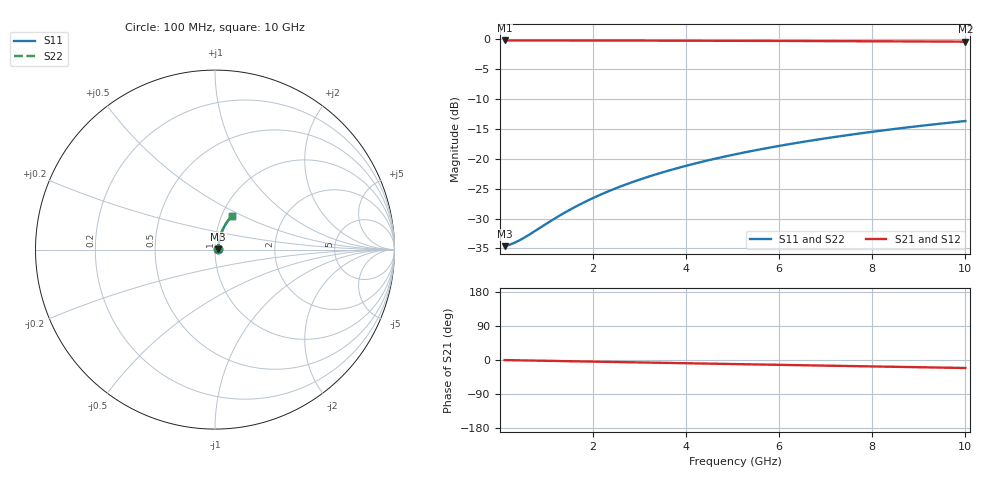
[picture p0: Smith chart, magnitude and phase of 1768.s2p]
# Hz S RI R 50.00
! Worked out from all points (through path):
!   100 points, 100 MHz to 10 GHz, reference 50 ohm
!   highest |S21| = -0.16 dB at 100 MHz (marker M1); lowest = -0.4 dB at 10 GHz (marker M2)
!   group delay of S21, straight-line fit = 5.87 ps
!   lowest |S11| = -34.6 dB at 100 MHz (marker M3), VSWR 1.04, Z = 51.9 + j0.216 ohm
!   |S11| at or under -10 dB: start of sweep to end of sweep
!   |S22| runs from -34.6 to -13.7 dB; largest |S21 - S12| = 0
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1e8  0.0184 0.00208  0.9816 -0.00367  0.9816 -0.00367  0.0184 0.00208
2e8  0.0186 0.00415  0.9814 -0.00734  0.9814 -0.00734  0.0186 0.00415
3e8  0.0187 0.00623  0.9813 -0.011  0.9813 -0.011  0.0187 0.00623
4e8  0.0188 0.0083  0.9812 -0.0147  0.9812 -0.0147  0.0188 0.0083
5e8  0.0189 0.0104  0.981 -0.0183  0.981 -0.0183  0.0189 0.0104
1.3e9  0.0204 0.0269  0.9794 -0.0476  0.9794 -0.0476  0.0204 0.0269
1.5e9  0.0209 0.031  0.9788 -0.0549  0.9788 -0.0549  0.0209 0.031
1.8e9  0.0217 0.0372  0.9778 -0.0659  0.9778 -0.0659  0.0217 0.0372
2.1e9  0.0227 0.0433  0.9767 -0.0768  0.9767 -0.0768  0.0227 0.0433
2.5e9  0.0242 0.0514  0.975 -0.0913  0.975 -0.0913  0.0242 0.0514
2.9e9  0.0259 0.0595  0.973 -0.1057  0.973 -0.1057  0.0259 0.0595
3.4e9  0.0284 0.0695  0.97 -0.1237  0.97 -0.1237  0.0284 0.0695
3.8e9  0.0307 0.0775  0.9674 -0.138  0.9674 -0.138  0.0307 0.0775
4.2e9  0.0332 0.0853  0.9645 -0.1522  0.9645 -0.1522  0.0332 0.0853
4.6e9  0.0359 0.0931  0.9613 -0.1664  0.9613 -0.1664  0.0359 0.0931
5.1e9  0.0396 0.1026  0.957 -0.1839  0.957 -0.1839  0.0396 0.1026
5.9e9  0.0462 0.1176  0.9492 -0.2117  0.9492 -0.2117  0.0462 0.1176
6.7e9  0.0537 0.132  0.9404 -0.2389  0.9404 -0.2389  0.0537 0.132
7.5e9  0.062 0.146  0.9307 -0.2656  0.9307 -0.2656  0.062 0.146
8.4e9  0.0722 0.161  0.9186 -0.2951  0.9186 -0.2951  0.0722 0.161
9.2e9  0.082 0.1736  0.9069 -0.3205  0.9069 -0.3205  0.082 0.1736
1e10  0.0925 0.1856  0.8944 -0.3454  0.8944 -0.3454  0.0925 0.1856
